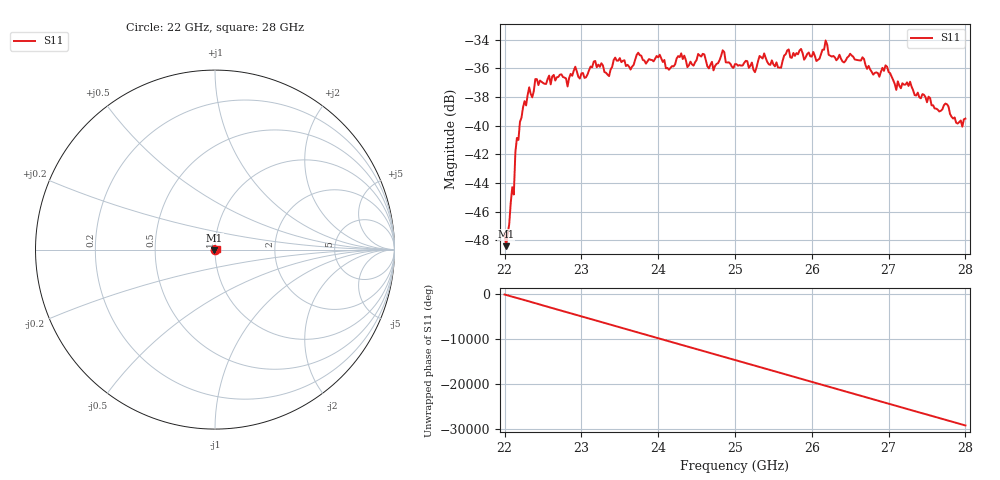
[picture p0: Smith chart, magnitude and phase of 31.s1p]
#  HZ  S  RI  R  50.00
! Rohde & Schwarz ZVA40 4Ports - Version 3.90 - 1145.1110k42 SN: 100403
! Date: 2023-10-04 10:33:56
! Measurement: S12
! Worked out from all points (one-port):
!   301 points, 22 GHz to 28 GHz, reference 50 ohm
!   lowest |S11| = -48.4 dB at 22.02 GHz (marker M1), VSWR 1.01, Z = 49.7 - j0.203 ohm
!   |S11| at or under -10 dB: start of sweep to end of sweep
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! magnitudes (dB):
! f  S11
! 22 GHz  -47.5
! 22.02 GHz  -48.4
! 22.1 GHz  -44.3
! 22.12 GHz  -44.8
! 22.14 GHz  -41.9
! 22.16 GHz  -40.9
! 22.32 GHz  -37.3
! 22.76 GHz  -36.6
! 23.18 GHz  -35.5
! 23.36 GHz  -36.5
! 23.5 GHz  -35.3
! 23.64 GHz  -36.1
! 23.74 GHz  -34.9
! 24.02 GHz  -35.0
! 24.14 GHz  -36.1
! 24.26 GHz  -35.1
! 24.84 GHz  -34.7
! 25 GHz  -35.7
! 25.26 GHz  -36.3
! 25.38 GHz  -35.0
! 25.6 GHz  -35.9
! 25.76 GHz  -34.9
! 26.06 GHz  -35.5
! 26.18 GHz  -34.0
! 26.32 GHz  -35.4
! 26.5 GHz  -35.0
! 27.26 GHz  -37.2
! 28 GHz  -39.5
